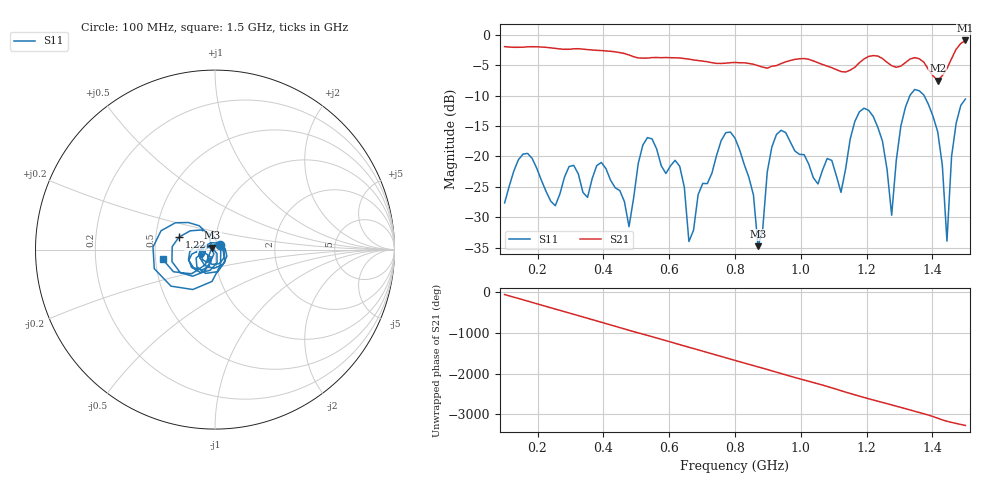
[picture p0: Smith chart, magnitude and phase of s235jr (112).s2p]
! NanoVNA-App
! Date: 2025-09-26 09:45:39
! Start: 100MHz Stop: 1,5GHz Points: 101
! S-Parameter data: F S11 S21 S12 S22
# Hz S RI R 50
!  Frequency  S11_Real  S11_Imag  S21_Real  S21_Imag  S12_Real  S12_Imag  S22_Real  S22_Imag
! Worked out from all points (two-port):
!   101 points, 100 MHz to 1.5 GHz, reference 50 ohm
!   highest |S21| = -0.95 dB at 1.5 GHz (marker M1); lowest = -7.5 dB at 1.416 GHz (marker M2)
!   |S21| within 3 dB of the highest: start of sweep to 649.6 MHz; 1.193 GHz to 1.249 GHz (55.4 MHz wide, 4.54 % of centre)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
!   lowest |S11| = -34.8 dB at 870 MHz (marker M3), VSWR 1.04, Z = 48.5 + j0.959 ohm
!   |S11| at or under -10 dB: start of sweep to 1.332 GHz; 1.375 GHz to end of sweep
!   S12 and S22 are empty: the file has one direction only
!   S11 on the Smith chart (normalised r, x): 100 MHz: 1.06, +0.06; 1.22 GHz: 0.66, +0.10; 1.5 GHz: 0.55, -0.07
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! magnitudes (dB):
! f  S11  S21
! 100 MHz  -27.6  -2.0
! 170 MHz  -19.5  -2.0
! 338 MHz  -25.9  -2.4
! 394 MHz  -21.0  -2.6
! 478 MHz  -31.6  -3.3
! 520 MHz  -18.1  -3.9
! 576 MHz  -21.5  -3.8
! 632 MHz  -21.6  -3.8
! 660 MHz  -34.0  -4.0
! 800 MHz  -17.0  -4.6
! 870 MHz  -34.8  -5.1
! 926 MHz  -16.4  -5.1
! 1.038 GHz  -23.5  -4.3
! 1.122 GHz  -25.9  -6.1
! 1.164 GHz  -14.3  -5.4
! 1.22 GHz  -13.4  -3.4
! 1.276 GHz  -29.7  -5.1
! 1.332 GHz  -9.9  -4.0
! 1.416 GHz  -16.0  -7.5
! 1.444 GHz  -33.9  -5.6
! 1.458 GHz  -20.0  -3.9
! 1.5 GHz  -10.6  -0.9
